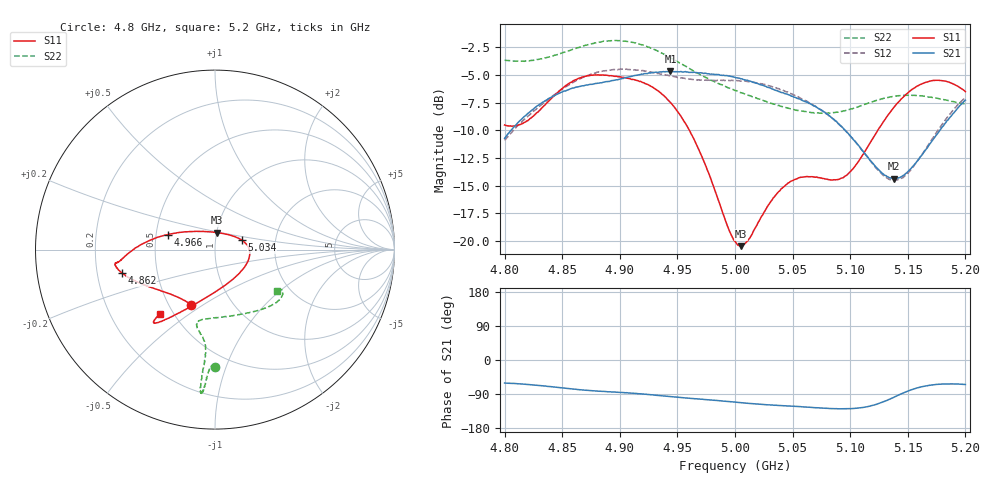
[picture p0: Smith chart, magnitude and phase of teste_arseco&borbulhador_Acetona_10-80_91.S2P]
! Network Analyzer HP8722D
! Hewlett-Packard
! Data name: Linha & Wilkinson
! Saver's name: Rodrigo Anjos
! Comments: Teste da utilização de aquisição
! continua pelo VNA HP8722D
! Time and date: 17/4/2025 15:07
!  Frequency  S11  S21  S12  S22
# HZ  S  MA R 50
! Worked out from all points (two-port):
!   401 points, 4.8 GHz to 5.2 GHz, reference 50 ohm
!   highest |S21| = -4.67 dB at 4.944 GHz (marker M1); lowest = -14.4 dB at 5.138 GHz (marker M2)
!   |S21| within 3 dB of the highest: 4.83 GHz to 5.067 GHz (236.4 MHz wide, 4.78 % of centre); 5.196212 GHz to end of sweep
!   lowest |S11| = -20.5 dB at 5.005 GHz (marker M3), VSWR 1.21, Z = 50.4 + j9.56 ohm
!   |S11| at or under -10 dB: 4.96 GHz to 5.124 GHz (163.6 MHz wide, 3.24 % of centre)
!   |S22| runs from -8.5 to -1.9 dB; largest |S21 - S12| = 0.88
!   S11 on the Smith chart (normalised r, x): 4.8 GHz: 0.64, -0.44; 4.862 GHz: 0.31, -0.11; 4.966 GHz: 0.58, +0.10; 5.034 GHz: 1.34, +0.15; 5.2 GHz: 0.42, -0.39
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4.8e9  0.3344 -113.7  0.2911 -60.9  0.2851 -175.1  0.6559 -90.2
4.819e9  0.3481 -133.7  0.3718 -64.4  0.361 -173.8  0.6506 -91.7
4.862e9  0.5361 -166.1  0.4954 -77.2  0.5298 -177.1  0.7415 -94.0
4.867e9  0.5493 -168.0  0.5015 -79.0  0.545 -178.2  0.7561 -94.2
4.9e9  0.5517 -172.5  0.5386 -85.5  0.5959 175.4  0.8032 -95.6
4.934e9  0.4735 -178.4  0.5796 -93.7  0.5712 171.6  0.715 -95.9
4.944e9  0.4231 177.0  0.5839 -96.5  0.5569 171.7  0.6731 -95.7
4.966e9  0.277 162.5  0.5754 -102.2  0.5347 173.5  0.5783 -95.1
5e9  0.09985 100.2  0.5488 -111.2  0.5312 175.9  0.4785 -99.4
5.005e9  0.09492 82.4  0.5404 -112.7  0.5272 175.9  0.4675 -100.4
5.012e9  0.1022 59.3  0.5275 -114.5  0.5234 175.7  0.4544 -101.9
5.034e9  0.158 19.6  0.482 -119.5  0.4943 174.7  0.4148 -103.5
5.05e9  0.1876 3.5  0.4505 -122.1  0.4596 174.0  0.3939 -99.5
5.067e9  0.1954 -14.7  0.4118 -125.5  0.4142 173.6  0.38 -90.5
5.086e9  0.1894 -44.9  0.354 -128.5  0.3528 173.5  0.3802 -76.1
5.097e9  0.1985 -67.3  0.3102 -128.7  0.3113 174.5  0.39 -67.1
5.134e9  0.3772 -116.9  0.1933 -103.6  0.1899 -156.6  0.4468 -43.0
5.138e9  0.4023 -119.2  0.1913 -98.1  0.1879 -150.2  0.4502 -41.2
5.151e9  0.4718 -124.9  0.208 -81.0  0.2056 -130.5  0.4556 -36.4
5.17e9  0.5284 -129.2  0.2779 -66.3  0.2834 -112.5  0.4464 -32.1
5.184e9  0.5247 -130.5  0.3494 -63.2  0.3605 -107.4  0.4325 -31.2
5.2e9  0.4729 -130.8  0.4325 -64.6  0.4451 -106.7  0.4152 -33.4
